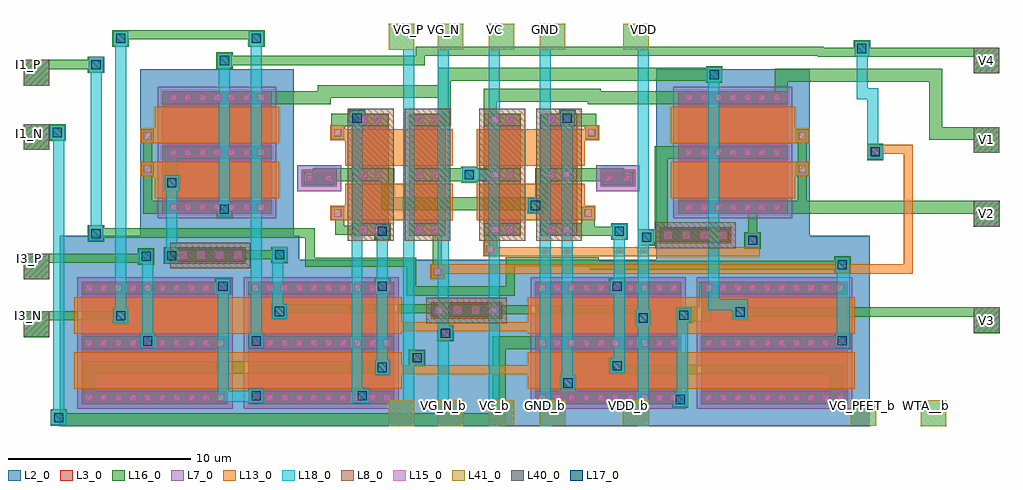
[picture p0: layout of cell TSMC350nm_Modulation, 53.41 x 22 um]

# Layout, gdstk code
from math import pi, radians
import gdstk
lib = gdstk.Library(unit=1e-6, precision=1e-09)
def R(c, l, rs):  # rectangles x0, y0, x1, y1
    for r in rs: c.add(gdstk.rectangle(r[:2], r[2:], *l))
def A(c, l, x, y, w, h, nx, ny, dx, dy):  # array of equal rectangles
    R(c, l, [(x+i*dx, y+j*dy, x+i*dx+w, y+j*dy+h) for i in range(nx) for j in range(ny)])
L2_0 = (2, 0)
L3_0 = (3, 0)
L7_0 = (7, 0)
L8_0 = (8, 0)
L13_0 = (13, 0)
L15_0 = (15, 0)
L16_0 = (16, 0)
L17_0 = (17, 0)
L18_0 = (18, 0)
L40_0 = (40, 0)
L41_0 = (41, 0)

pch_cdns_756393814780 = lib.new_cell('pch_CDNS_756393814780')
R(pch_cdns_756393814780, L2_0, [(-2.05,-1.2,7.05,9.2)])
A(pch_cdns_756393814780, L3_0, -0.85, 0, 0.7, 8, 3, 1, 3, 0)
R(pch_cdns_756393814780, L3_0, [(-0.85,0,-0.15,8), (-0.15,0,2.15,8), (2.85,0,5.15,8), (5.15,0,5.85,8)])
R(pch_cdns_756393814780, L7_0, [(-1.1,-0.25,6.1,8.25)])
R(pch_cdns_756393814780, L13_0, [(0,-0.4,2,8.4), (3,-0.4,5,8.4)])
A(pch_cdns_756393814780, L15_0, -0.7, 0.2, 0.4, 0.4, 3, 10, 3, 0.8)
A(pch_cdns_756393814780, L16_0, -0.85, 0, 0.7, 8, 3, 1, 3, 0)
pch_cdns_756393814780.add(gdstk.Label('D', (2.5,4), layer=59, texttype=0))
pch_cdns_756393814780.add(gdstk.Label('S', (-0.5,4), layer=59, texttype=0))
pch_cdns_756393814780.add(gdstk.Label('S', (5.5,4), layer=59, texttype=0))
pch_cdns_756393814780.add(gdstk.Label('G', (4,4), layer=59, texttype=0))
pch_cdns_756393814780.add(gdstk.Label('G', (1,4), layer=59, texttype=0))
pch_cdns_756393814780.add(gdstk.Label('& SerialNumber 000000', (0,0), layer=16, texttype=0))
pch_cdns_756393814780.add(gdstk.Label('& Distributor VIS', (0,0), layer=16, texttype=0))
pch_cdns_756393814780.add(gdstk.Label('& Metric 1', (0,0), layer=16, texttype=0))
pch_cdns_756393814780.add(gdstk.Label('& Version    \t  1.7A', (0,0), layer=16, texttype=0))
pch_cdns_756393814780.add(gdstk.Label('& PDKName     vis35cv', (0,0), layer=16, texttype=0))
pch_cdns_756393814780.add(gdstk.Label('& Vendor VIS Corp.', (0,0), layer=16, texttype=0))
pch_cdns_756393814780.add(gdstk.Label('& SerialNumber 000000', (0,0), layer=63, texttype=63))
pch_cdns_756393814780.add(gdstk.Label('& Distributor VIS', (0,0), layer=63, texttype=63))
pch_cdns_756393814780.add(gdstk.Label('& Metric 1', (0,0), layer=63, texttype=63))
pch_cdns_756393814780.add(gdstk.Label('& Version    \t  1.7A', (0,0), layer=63, texttype=63))
pch_cdns_756393814780.add(gdstk.Label('& PDKName     vis35cv', (0,0), layer=63, texttype=63))
pch_cdns_756393814780.add(gdstk.Label('& Vendor VIS Corp.', (0,0), layer=63, texttype=63))

pch_cdns_756393814781 = lib.new_cell('pch_CDNS_756393814781')
R(pch_cdns_756393814781, L2_0, [(-2.05,-1.2,7.05,9.2)])
A(pch_cdns_756393814781, L3_0, -0.85, 0, 0.7, 8, 3, 1, 3, 0)
R(pch_cdns_756393814781, L3_0, [(-0.85,0,-0.15,8), (-0.15,0,2.15,8), (2.85,0,5.15,8), (5.15,0,5.85,8)])
R(pch_cdns_756393814781, L7_0, [(-1.1,-0.25,6.1,8.25)])
R(pch_cdns_756393814781, L13_0, [(0,-0.4,2,8.4), (3,-0.4,5,8.4)])
A(pch_cdns_756393814781, L15_0, -0.7, 0.2, 0.4, 0.4, 3, 10, 3, 0.8)
A(pch_cdns_756393814781, L16_0, -0.85, 0, 0.7, 8, 3, 1, 3, 0)
pch_cdns_756393814781.add(gdstk.Label('S', (2.5,4), layer=59, texttype=0))
pch_cdns_756393814781.add(gdstk.Label('D', (-0.5,4), layer=59, texttype=0))
pch_cdns_756393814781.add(gdstk.Label('D', (5.5,4), layer=59, texttype=0))
pch_cdns_756393814781.add(gdstk.Label('G', (4,4), layer=59, texttype=0))
pch_cdns_756393814781.add(gdstk.Label('G', (1,4), layer=59, texttype=0))
pch_cdns_756393814781.add(gdstk.Label('& SerialNumber 000000', (0,0), layer=16, texttype=0))
pch_cdns_756393814781.add(gdstk.Label('& Distributor VIS', (0,0), layer=16, texttype=0))
pch_cdns_756393814781.add(gdstk.Label('& Metric 1', (0,0), layer=16, texttype=0))
pch_cdns_756393814781.add(gdstk.Label('& Version    \t  1.7A', (0,0), layer=16, texttype=0))
pch_cdns_756393814781.add(gdstk.Label('& PDKName     vis35cv', (0,0), layer=16, texttype=0))
pch_cdns_756393814781.add(gdstk.Label('& Vendor VIS Corp.', (0,0), layer=16, texttype=0))
pch_cdns_756393814781.add(gdstk.Label('& SerialNumber 000000', (0,0), layer=63, texttype=63))
pch_cdns_756393814781.add(gdstk.Label('& Distributor VIS', (0,0), layer=63, texttype=63))
pch_cdns_756393814781.add(gdstk.Label('& Metric 1', (0,0), layer=63, texttype=63))
pch_cdns_756393814781.add(gdstk.Label('& Version    \t  1.7A', (0,0), layer=63, texttype=63))
pch_cdns_756393814781.add(gdstk.Label('& PDKName     vis35cv', (0,0), layer=63, texttype=63))
pch_cdns_756393814781.add(gdstk.Label('& Vendor VIS Corp.', (0,0), layer=63, texttype=63))

pch_cdns_756393814782 = lib.new_cell('pch_CDNS_756393814782')
R(pch_cdns_756393814782, L2_0, [(-2.05,-1.2,7.05,7.2)])
A(pch_cdns_756393814782, L3_0, -0.85, 0, 0.7, 6, 3, 1, 3, 0)
R(pch_cdns_756393814782, L3_0, [(-0.85,0,-0.15,6), (-0.15,0,2.15,6), (2.85,0,5.15,6), (5.15,0,5.85,6)])
R(pch_cdns_756393814782, L7_0, [(-1.1,-0.25,6.1,6.25)])
R(pch_cdns_756393814782, L13_0, [(0,-0.4,2,6.4), (3,-0.4,5,6.4)])
A(pch_cdns_756393814782, L15_0, -0.7, 0.4, 0.4, 0.4, 3, 7, 3, 0.8)
A(pch_cdns_756393814782, L16_0, -0.85, 0, 0.7, 6, 3, 1, 3, 0)
pch_cdns_756393814782.add(gdstk.Label('D', (2.5,3), layer=59, texttype=0))
pch_cdns_756393814782.add(gdstk.Label('S', (-0.5,3), layer=59, texttype=0))
pch_cdns_756393814782.add(gdstk.Label('S', (5.5,3), layer=59, texttype=0))
pch_cdns_756393814782.add(gdstk.Label('G', (4,3), layer=59, texttype=0))
pch_cdns_756393814782.add(gdstk.Label('G', (1,3), layer=59, texttype=0))
pch_cdns_756393814782.add(gdstk.Label('& SerialNumber 000000', (0,0), layer=16, texttype=0))
pch_cdns_756393814782.add(gdstk.Label('& Distributor VIS', (0,0), layer=16, texttype=0))
pch_cdns_756393814782.add(gdstk.Label('& Metric 1', (0,0), layer=16, texttype=0))
pch_cdns_756393814782.add(gdstk.Label('& Version    \t  1.7A', (0,0), layer=16, texttype=0))
pch_cdns_756393814782.add(gdstk.Label('& PDKName     vis35cv', (0,0), layer=16, texttype=0))
pch_cdns_756393814782.add(gdstk.Label('& Vendor VIS Corp.', (0,0), layer=16, texttype=0))
pch_cdns_756393814782.add(gdstk.Label('& SerialNumber 000000', (0,0), layer=63, texttype=63))
pch_cdns_756393814782.add(gdstk.Label('& Distributor VIS', (0,0), layer=63, texttype=63))
pch_cdns_756393814782.add(gdstk.Label('& Metric 1', (0,0), layer=63, texttype=63))
pch_cdns_756393814782.add(gdstk.Label('& Version    \t  1.7A', (0,0), layer=63, texttype=63))
pch_cdns_756393814782.add(gdstk.Label('& PDKName     vis35cv', (0,0), layer=63, texttype=63))
pch_cdns_756393814782.add(gdstk.Label('& Vendor VIS Corp.', (0,0), layer=63, texttype=63))

nch_cdns_756393814783 = lib.new_cell('nch_CDNS_756393814783')
A(nch_cdns_756393814783, L3_0, -0.85, 0, 0.7, 2, 3, 1, 3, 0)
R(nch_cdns_756393814783, L3_0, [(-0.85,0,-0.15,2), (-0.15,0,2.15,2), (2.85,0,5.15,2), (5.15,0,5.85,2)])
R(nch_cdns_756393814783, L8_0, [(-1.1,-0.25,6.1,2.25)])
R(nch_cdns_756393814783, L13_0, [(0,-0.4,2,2.4), (3,-0.4,5,2.4)])
A(nch_cdns_756393814783, L15_0, -0.7, 0.4, 0.4, 0.4, 3, 2, 3, 0.8)
A(nch_cdns_756393814783, L16_0, -0.85, 0, 0.7, 2, 3, 1, 3, 0)
nch_cdns_756393814783.add(gdstk.Label('D', (2.5,1), layer=59, texttype=0))
nch_cdns_756393814783.add(gdstk.Label('S', (-0.5,1), layer=59, texttype=0))
nch_cdns_756393814783.add(gdstk.Label('S', (5.5,1), layer=59, texttype=0))
nch_cdns_756393814783.add(gdstk.Label('G', (4,1), layer=59, texttype=0))
nch_cdns_756393814783.add(gdstk.Label('G', (1,1), layer=59, texttype=0))
nch_cdns_756393814783.add(gdstk.Label('& SerialNumber 000000', (0,0), layer=16, texttype=0))
nch_cdns_756393814783.add(gdstk.Label('& Distributor VIS', (0,0), layer=16, texttype=0))
nch_cdns_756393814783.add(gdstk.Label('& Metric 1', (0,0), layer=16, texttype=0))
nch_cdns_756393814783.add(gdstk.Label('& Version    \t  1.7A', (0,0), layer=16, texttype=0))
nch_cdns_756393814783.add(gdstk.Label('& PDKName     vis35cv', (0,0), layer=16, texttype=0))
nch_cdns_756393814783.add(gdstk.Label('& Vendor VIS Corp.', (0,0), layer=16, texttype=0))
nch_cdns_756393814783.add(gdstk.Label('& SerialNumber 000000', (0,0), layer=63, texttype=63))
nch_cdns_756393814783.add(gdstk.Label('& Distributor VIS', (0,0), layer=63, texttype=63))
nch_cdns_756393814783.add(gdstk.Label('& Metric 1', (0,0), layer=63, texttype=63))
nch_cdns_756393814783.add(gdstk.Label('& Version    \t  1.7A', (0,0), layer=63, texttype=63))
nch_cdns_756393814783.add(gdstk.Label('& PDKName     vis35cv', (0,0), layer=63, texttype=63))
nch_cdns_756393814783.add(gdstk.Label('& Vendor VIS Corp.', (0,0), layer=63, texttype=63))

m2_m1_cdns_756393814780 = lib.new_cell('M2_M1_CDNS_756393814780')
R(m2_m1_cdns_756393814780, L16_0, [(-0.45,-0.45,0.45,0.45)])
R(m2_m1_cdns_756393814780, L17_0, [(-0.25,-0.25,0.25,0.25)])
R(m2_m1_cdns_756393814780, L18_0, [(-0.4,-0.4,0.4,0.4)])

m1_poly1_cdns_7563938147 = lib.new_cell('M1_POLY1_CDNS_756393814781')
R(m1_poly1_cdns_7563938147, L13_0, [(-0.4,-0.4,0.4,0.4)])
R(m1_poly1_cdns_7563938147, L15_0, [(-0.2,-0.2,0.2,0.2)])
R(m1_poly1_cdns_7563938147, L16_0, [(-0.35,-0.35,0.35,0.35)])

c_m1_poly1_cdns_7563938147 = lib.new_cell('M1_POLY1_CDNS_756393814782')
R(c_m1_poly1_cdns_7563938147, L13_0, [(-0.4,-0.4,0.4,0.4)])
R(c_m1_poly1_cdns_7563938147, L15_0, [(-0.2,-0.2,0.2,0.2)])
R(c_m1_poly1_cdns_7563938147, L16_0, [(-0.45,-0.45,0.45,0.45)])

m1_nactive_cdns_75639381 = lib.new_cell('M1_NACTIVE_CDNS_756393814783')
R(m1_nactive_cdns_75639381, L3_0, [(-1.95,-0.45,1.95,0.45)])
R(m1_nactive_cdns_75639381, L8_0, [(-2.2,-0.7,2.2,0.7)])
A(m1_nactive_cdns_75639381, L15_0, -1.7, -0.2, 0.4, 0.4, 4, 1, 1, 0)
R(m1_nactive_cdns_75639381, L16_0, [(-1.85,-0.35,1.85,0.35)])

m1_pactive_cdns_75639381 = lib.new_cell('M1_PACTIVE_CDNS_756393814784')
R(m1_pactive_cdns_75639381, L3_0, [(-0.95,-0.45,0.95,0.45)])
R(m1_pactive_cdns_75639381, L7_0, [(-1.2,-0.7,1.2,0.7)])
R(m1_pactive_cdns_75639381, L15_0, [(-0.7,-0.2,-0.3,0.2), (0.3,-0.2,0.7,0.2)])
R(m1_pactive_cdns_75639381, L16_0, [(-0.85,-0.35,0.85,0.35)])

tsmc350nm_modulation = lib.new_cell('TSMC350nm_Modulation')
R(tsmc350nm_modulation, L2_0, [(21.49,0,26.8,9.1), (1.99,9.1,15.09,10.42), (34.62,9.1,46.3,10.42)])
R(tsmc350nm_modulation, L13_0, [(7.09,13.62,7.19,14.42)])
R(tsmc350nm_modulation, L16_0, [(0,4.88,1.4,6.28), (52,5.09,53.4,6.49), (36.59,6.41,36.95,6.52), (0,8.03,1.4,9.43), (25.21,9.99,25.31,10.4), (25.81,9.99,25.91,10.4), (31.05,10.9,31.25,11.1), (52,10.92,53.4,12.32), (31.05,11.1,31.25,11.3), (52,14.95,53.4,16.35), (0,15.11,1.4,16.51), (16.85,16.2,16.95,16.4), (17.45,16.2,17.55,16.4), (30.75,16.2,30.85,16.4), (31.35,16.2,31.45,16.4), (0,18.63,1.4,20.03), (52,19.31,53.4,20.71)])
A(tsmc350nm_modulation, L18_0, 22.66, 20.6, 1.4, 1.4, 3, 1, 2.8, 0)
R(tsmc350nm_modulation, L18_0, [(19.98,0,21.38,1.4), (22.66,0,24.06,1.4), (49.09,0,50.49,1.4), (25.46,0.01,26.86,1.41), (28.27,0.01,29.67,1.41), (32.8,0.01,34.2,1.41), (45.26,0.01,46.66,1.41), (19.98,20.6,21.38,22), (32.82,20.6,34.22,22)])
R(tsmc350nm_modulation, L40_0, [(0,4.87,1.4,6.28), (52,5.08,53.41,6.49), (0,8.03,1.4,9.43), (52,10.91,53.41,12.32), (52,14.95,53.4,16.35), (0,15.11,1.4,16.51), (0,18.63,1.4,20.03), (52,19.31,53.4,20.71)])
A(tsmc350nm_modulation, L41_0, 22.66, 20.6, 1.4, 1.4, 3, 1, 2.8, 0)
R(tsmc350nm_modulation, L41_0, [(19.98,0,21.38,1.4), (22.66,0,24.06,1.4), (49.1,0,50.49,1.4), (25.46,0.01,26.86,1.41), (28.27,0.01,29.67,1.41), (32.8,0.01,34.2,1.41), (45.26,0.01,46.66,1.41), (32.82,20.59,34.22,22), (19.98,20.6,21.38,22)])
tsmc350nm_modulation.add(gdstk.FlexPath([(42.62,15.87),(42.62,14.07)], 0.5, ends="flush", simple_path=True, layer=16, datatype=0))  # L16_0
tsmc350nm_modulation.add(gdstk.FlexPath([(42.62,14.07),(42.62,11.96)], 0.5, ends="flush", simple_path=True, layer=16, datatype=0))  # L16_0
tsmc350nm_modulation.add(gdstk.FlexPath([(44.22,11.97),(52,11.97)], 0.7, ends="flush", simple_path=True, layer=16, datatype=0))  # L16_0
tsmc350nm_modulation.add(gdstk.FlexPath([(52,20.46),(43.46,20.46)], 0.5, ends="flush", simple_path=True, layer=16, datatype=0))  # L16_0
tsmc350nm_modulation.add(gdstk.FlexPath([(49.92,16.01),(52,16.01)], 0.7, ends=(0.35, 0), simple_path=True, layer=16, datatype=0))  # L16_0
tsmc350nm_modulation.add(gdstk.FlexPath([(49.92,19.19),(49.92,16.01)], 0.7, ends="extended", simple_path=True, layer=16, datatype=0))  # L16_0
tsmc350nm_modulation.add(gdstk.FlexPath([(47.01,19.19),(49.92,19.19)], 0.7, ends="extended", simple_path=True, layer=16, datatype=0))  # L16_0
tsmc350nm_modulation.add(gdstk.FlexPath([(47.01,19.2),(47.01,19.19)], 0.7, ends="extended", simple_path=True, layer=16, datatype=0))  # L16_0
tsmc350nm_modulation.add(gdstk.FlexPath([(0,16.01),(2.17,16.01)], 0.5, ends="flush", simple_path=True, layer=16, datatype=0))  # L16_0
tsmc350nm_modulation.add(gdstk.FlexPath([(0,19.78),(4.08,19.78)], 0.5, ends="flush", simple_path=True, layer=16, datatype=0))  # L16_0
tsmc350nm_modulation.add(gdstk.FlexPath([(3.58,3.2),(19.63,3.2)], 0.7, ends=(0.35, 0), simple_path=True, layer=16, datatype=0))  # L16_0
tsmc350nm_modulation.add(gdstk.FlexPath([(25.56,9.64),(25.56,10.4)], 0.5, ends="flush", simple_path=True, layer=16, datatype=0))  # L16_0
tsmc350nm_modulation.add(gdstk.FlexPath([(22.65,8.51),(22.65,10.4)], 0.5, ends="flush", simple_path=True, layer=16, datatype=0))  # L16_0
tsmc350nm_modulation.add(gdstk.FlexPath([(31.24,8.8),(45.26,8.8)], 0.5, ends=(0.25, 0), simple_path=True, layer=16, datatype=0))  # L16_0
tsmc350nm_modulation.add(gdstk.FlexPath([(31.24,8.98),(31.24,8.8)], 0.5, ends="extended", simple_path=True, layer=16, datatype=0))  # L16_0
tsmc350nm_modulation.add(gdstk.FlexPath([(26.64,8.98),(31.24,8.98)], 0.5, ends="extended", simple_path=True, layer=16, datatype=0))  # L16_0
tsmc350nm_modulation.add(gdstk.FlexPath([(26.64,7.39),(26.64,8.98)], 0.5, ends="extended", simple_path=True, layer=16, datatype=0))  # L16_0
tsmc350nm_modulation.add(gdstk.FlexPath([(21.23,7.39),(26.64,7.39)], 0.5, ends="extended", simple_path=True, layer=16, datatype=0))  # L16_0
tsmc350nm_modulation.add(gdstk.FlexPath([(41.47,19.2),(47.01,19.2)], 0.7, ends="extended", simple_path=True, layer=16, datatype=0))  # L16_0
tsmc350nm_modulation.add(gdstk.FlexPath([(8.12,14.97),(8.12,13.26)], 0.7, ends=(0.35, 0), simple_path=True, layer=16, datatype=0))  # L16_0
tsmc350nm_modulation.add(gdstk.FlexPath([(37.65,10.34),(34.9,10.34)], 0.5, ends=(0, 0.35), simple_path=True, layer=16, datatype=0))  # L16_0
tsmc350nm_modulation.add(gdstk.FlexPath([(34.9,14.97),(34.9,10.34)], 0.7, ends=(0.35, 0.25), simple_path=True, layer=16, datatype=0))  # L16_0
tsmc350nm_modulation.add(gdstk.FlexPath([(35.86,14.97),(34.9,14.97)], 0.7, ends=(0, 0.35), simple_path=True, layer=16, datatype=0))  # L16_0
tsmc350nm_modulation.add(gdstk.FlexPath([(43.79,20.51),(21.72,20.51)], 0.5, ends=(0, 0.25), simple_path=True, layer=16, datatype=0))  # L16_0
tsmc350nm_modulation.add(gdstk.FlexPath([(21.72,20.51),(21.72,20)], 0.5, ends="extended", simple_path=True, layer=16, datatype=0))  # L16_0
tsmc350nm_modulation.add(gdstk.FlexPath([(21.72,20),(11,20)], 0.5, ends=(0.25, 0), simple_path=True, layer=16, datatype=0))  # L16_0
tsmc350nm_modulation.add(gdstk.FlexPath([(16.19,13.75),(16.19,13.56)], 0.7, ends=(0.35, 0), simple_path=True, layer=16, datatype=0))  # L16_0
tsmc350nm_modulation.add(gdstk.FlexPath([(18,13.75),(16.19,13.75)], 0.7, ends=(0, 0.35), simple_path=True, layer=16, datatype=0))  # L16_0
tsmc350nm_modulation.add(gdstk.FlexPath([(32.53,13.75),(32.53,13.56)], 0.7, ends=(0.35, 0), simple_path=True, layer=16, datatype=0))  # L16_0
tsmc350nm_modulation.add(gdstk.FlexPath([(30.3,13.75),(32.53,13.75)], 0.7, ends=(0, 0.35), simple_path=True, layer=16, datatype=0))  # L16_0
tsmc350nm_modulation.add(gdstk.FlexPath([(0,9.18),(6.79,9.18)], 0.5, ends="flush", simple_path=True, layer=16, datatype=0))  # L16_0
tsmc350nm_modulation.add(gdstk.FlexPath([(24,6.37),(34.36,6.37)], 0.5, ends=(0.25, 0), simple_path=True, layer=16, datatype=0))  # L16_0
tsmc350nm_modulation.add(gdstk.FlexPath([(26.03,0.35),(1.99,0.35)], 0.7, ends=(0.35, 0), simple_path=True, layer=16, datatype=0))  # L16_0
tsmc350nm_modulation.add(gdstk.FlexPath([(15.68,8.96),(21.23,8.96)], 0.5, ends="extended", simple_path=True, layer=16, datatype=0))  # L16_0
tsmc350nm_modulation.add(gdstk.FlexPath([(15.68,10.56),(15.68,8.96)], 0.5, ends="extended", simple_path=True, layer=16, datatype=0))  # L16_0
tsmc350nm_modulation.add(gdstk.FlexPath([(10.22,9.34),(10.22,9.37)], 0.5, ends=(0, 0.25), simple_path=True, layer=16, datatype=0))  # L16_0
tsmc350nm_modulation.add(gdstk.FlexPath([(3.8,10.56),(15.68,10.56)], 0.5, ends=(0, 0.25), simple_path=True, layer=16, datatype=0))  # L16_0
tsmc350nm_modulation.add(gdstk.FlexPath([(26.03,4.55),(26.03,0.35)], 0.7, ends="extended", simple_path=True, layer=16, datatype=0))  # L16_0
tsmc350nm_modulation.add(gdstk.FlexPath([(24.08,6.41),(14.25,6.41)], 0.5, ends="flush", simple_path=True, layer=16, datatype=0))  # L16_0
tsmc350nm_modulation.add(gdstk.FlexPath([(39.9,10.16),(39.9,12.32)], 0.5, ends="flush", simple_path=True, layer=16, datatype=0))  # L16_0
tsmc350nm_modulation.add(gdstk.FlexPath([(52,6.24),(39.22,6.24)], 0.5, ends="flush", simple_path=True, layer=16, datatype=0))  # L16_0
tsmc350nm_modulation.add(gdstk.FlexPath([(36.38,6.06),(36.38,6.07)], 0.7, ends=(0.35, 0), simple_path=True, layer=16, datatype=0))  # L16_0
tsmc350nm_modulation.add(gdstk.FlexPath([(37.3,7.55),(37.3,6.06)], 0.7, ends="extended", simple_path=True, layer=16, datatype=0))  # L16_0
tsmc350nm_modulation.add(gdstk.FlexPath([(37.3,6.06),(36.38,6.06)], 0.7, ends="extended", simple_path=True, layer=16, datatype=0))  # L16_0
tsmc350nm_modulation.add(gdstk.FlexPath([(23.02,19.25),(37.8,19.25)], 0.7, ends=(0.35, 0), simple_path=True, layer=16, datatype=0))  # L16_0
tsmc350nm_modulation.add(gdstk.FlexPath([(23.02,18.3),(23.02,19.25)], 0.7, ends="extended", simple_path=True, layer=16, datatype=0))  # L16_0
tsmc350nm_modulation.add(gdstk.FlexPath([(17.3,10.72),(18.14,10.72)], 0.5, ends=(0.25, 0), simple_path=True, layer=16, datatype=0))  # L16_0
tsmc350nm_modulation.add(gdstk.FlexPath([(6.79,14.07),(6.79,11.62)], 0.5, ends="flush", simple_path=True, layer=16, datatype=0))  # L16_0
tsmc350nm_modulation.add(gdstk.FlexPath([(6.79,15.87),(6.79,14.07)], 0.5, ends="flush", simple_path=True, layer=16, datatype=0))  # L16_0
tsmc350nm_modulation.add(gdstk.FlexPath([(41.47,18.3),(41.47,19.2)], 0.7, ends=(0, 0.35), simple_path=True, layer=16, datatype=0))  # L16_0
tsmc350nm_modulation.add(gdstk.FlexPath([(16.46,17.97),(16.46,18.3)], 0.7, ends="extended", simple_path=True, layer=16, datatype=0))  # L16_0
tsmc350nm_modulation.add(gdstk.FlexPath([(25.54,18.1),(25.54,16.41)], 0.7, ends=(0.35, 0), simple_path=True, layer=16, datatype=0))  # L16_0
tsmc350nm_modulation.add(gdstk.FlexPath([(19.93,13.75),(19.93,12.17)], 0.7, ends="extended", simple_path=True, layer=16, datatype=0))  # L16_0
tsmc350nm_modulation.add(gdstk.FlexPath([(23.09,13.75),(25.2,13.75)], 0.7, ends="flush", simple_path=True, layer=16, datatype=0))  # L16_0
tsmc350nm_modulation.add(gdstk.FlexPath([(16.46,18.3),(23.02,18.3)], 0.7, ends="extended", simple_path=True, layer=16, datatype=0))  # L16_0
tsmc350nm_modulation.add(gdstk.FlexPath([(23.02,16.75),(23.02,18.3)], 0.7, ends="extended", simple_path=True, layer=16, datatype=0))  # L16_0
tsmc350nm_modulation.add(gdstk.FlexPath([(13.57,17.97),(16.46,17.97)], 0.7, ends=(0, 0.35), simple_path=True, layer=16, datatype=0))  # L16_0
tsmc350nm_modulation.add(gdstk.FlexPath([(35.83,17.97),(31.24,17.97)], 0.7, ends=(0, 0.35), simple_path=True, layer=16, datatype=0))  # L16_0
tsmc350nm_modulation.add(gdstk.FlexPath([(31.24,18.1),(25.54,18.1)], 0.7, ends="extended", simple_path=True, layer=16, datatype=0))  # L16_0
tsmc350nm_modulation.add(gdstk.FlexPath([(28.35,12.17),(28.35,14.1)], 0.7, ends=(0.35, 0), simple_path=True, layer=16, datatype=0))  # L16_0
tsmc350nm_modulation.add(gdstk.FlexPath([(19.93,12.17),(28.35,12.17)], 0.7, ends="extended", simple_path=True, layer=16, datatype=0))  # L16_0
tsmc350nm_modulation.add(gdstk.FlexPath([(31.24,17.97),(31.24,18.1)], 0.7, ends="extended", simple_path=True, layer=16, datatype=0))  # L16_0
tsmc350nm_modulation.add(gdstk.FlexPath([(41.82,11.97),(44.22,11.97)], 0.7, ends="flush", simple_path=True, layer=16, datatype=0))  # L16_0
tsmc350nm_modulation.add(gdstk.FlexPath([(44.5,1.55),(44.5,3.34)], 0.7, ends=(0.35, 0), simple_path=True, layer=16, datatype=0))  # L16_0
tsmc350nm_modulation.add(gdstk.FlexPath([(44.36,3.09),(32.06,3.09)], 0.5, ends="flush", simple_path=True, layer=16, datatype=0))  # L16_0
tsmc350nm_modulation.add(gdstk.FlexPath([(3.58,1.55),(3.58,3.2)], 0.7, ends="extended", simple_path=True, layer=16, datatype=0))  # L16_0
tsmc350nm_modulation.add(gdstk.FlexPath([(7.59,11.97),(6.64,11.97)], 0.7, ends="flush", simple_path=True, layer=16, datatype=0))  # L16_0
tsmc350nm_modulation.add(gdstk.FlexPath([(0,6.03),(5.29,6.03)], 0.5, ends="flush", simple_path=True, layer=16, datatype=0))  # L16_0
tsmc350nm_modulation.add(gdstk.FlexPath([(21.23,8.96),(21.23,7.39)], 0.5, ends="extended", simple_path=True, layer=16, datatype=0))  # L16_0
tsmc350nm_modulation.add(gdstk.FlexPath([(4.99,21.41),(12.74,21.41)], 0.5, ends="flush", simple_path=True, layer=16, datatype=0))  # L16_0
tsmc350nm_modulation.add(gdstk.FlexPath([(28.07,4.55),(26.03,4.55)], 0.7, ends=(0, 0.35), simple_path=True, layer=16, datatype=0))  # L16_0
tsmc350nm_modulation.add(gdstk.FlexPath([(30,10.75),(30.64,10.75)], 0.7, ends="flush", simple_path=True, layer=16, datatype=0))  # L16_0
tsmc350nm_modulation.add(gdstk.FlexPath([(17.2,16.75),(16.85,16.75)], 0.7, ends=(0.25, 0), simple_path=True, layer=16, datatype=0))  # L16_0
tsmc350nm_modulation.add(gdstk.FlexPath([(18,16.75),(17.2,16.75)], 0.7, ends=(0, 0.25), simple_path=True, layer=16, datatype=0))  # L16_0
tsmc350nm_modulation.add(gdstk.FlexPath([(17.2,15.85),(17.2,16.75)], 0.5, ends=(0, 0.35), simple_path=True, layer=16, datatype=0))  # L16_0
tsmc350nm_modulation.add(gdstk.FlexPath([(31.1,15.85),(31.1,16.75)], 0.5, ends=(0, 0.35), simple_path=True, layer=16, datatype=0))  # L16_0
tsmc350nm_modulation.add(gdstk.FlexPath([(30,16.75),(31.15,16.75)], 0.7, ends="flush", simple_path=True, layer=16, datatype=0))  # L16_0
tsmc350nm_modulation.add(gdstk.FlexPath([(30.8,11.65),(30.8,10.65)], 0.5, ends=(0, 0.25), simple_path=True, layer=16, datatype=0))  # L16_0
tsmc350nm_modulation.add(gdstk.FlexPath([(17.2,11.65),(17.3,11.65)], 0.7, ends=(0, 0.25), simple_path=True, layer=16, datatype=0))  # L16_0
tsmc350nm_modulation.add(gdstk.FlexPath([(17.3,11.65),(17.3,10.72)], 0.5, ends=(0.35, 0.25), simple_path=True, layer=16, datatype=0))  # L16_0
tsmc350nm_modulation.add(gdstk.FlexPath([(30.8,10.65),(32.61,10.65)], 0.5, ends=(0.25, 0), simple_path=True, layer=16, datatype=0))  # L16_0
tsmc350nm_modulation.add(gdstk.FlexPath([(34.9,10.34),(33.8,10.34)], 0.5, ends=(0.35, 0), simple_path=True, layer=16, datatype=0))  # L16_0
tsmc350nm_modulation.add(gdstk.FlexPath([(10.22,9.37),(14.02,9.37)], 0.5, ends=(0.25, 0), simple_path=True, layer=16, datatype=0))  # L16_0
tsmc350nm_modulation.add(gdstk.FlexPath([(46.21,15.14),(48.42,15.14)], 0.5, ends=(0, 0.25), simple_path=True, layer=13, datatype=0))  # L13_0
tsmc350nm_modulation.add(gdstk.FlexPath([(48.42,15.14),(48.42,8.59)], 0.5, ends="extended", simple_path=True, layer=13, datatype=0))  # L13_0
tsmc350nm_modulation.add(gdstk.FlexPath([(40.3,9.54),(25.38,9.54)], 0.5, ends="flush", simple_path=True, layer=13, datatype=0))  # L13_0
tsmc350nm_modulation.add(gdstk.FlexPath([(48.42,8.59),(22.59,8.59)], 0.5, ends=(0.25, 0), simple_path=True, layer=13, datatype=0))  # L13_0
tsmc350nm_modulation.add(gdstk.FlexPath([(36.7,3.05),(36.4,3.05)], 2, ends="flush", simple_path=True, layer=13, datatype=0))  # L13_0
tsmc350nm_modulation.add(gdstk.FlexPath([(36.4,6.05),(36.7,6.05)], 2, ends="flush", simple_path=True, layer=13, datatype=0))  # L13_0
tsmc350nm_modulation.add(gdstk.FlexPath([(11.59,3.05),(11.89,3.05)], 2, ends="flush", simple_path=True, layer=13, datatype=0))  # L13_0
tsmc350nm_modulation.add(gdstk.FlexPath([(11.89,6.05),(11.59,6.05)], 2, ends="flush", simple_path=True, layer=13, datatype=0))  # L13_0
tsmc350nm_modulation.add(gdstk.FlexPath([(27.9,12.25),(27.6,12.25)], 2, ends="flush", simple_path=True, layer=13, datatype=0))  # L13_0
tsmc350nm_modulation.add(gdstk.FlexPath([(27.9,15.25),(27.6,15.25)], 2, ends="flush", simple_path=True, layer=13, datatype=0))  # L13_0
tsmc350nm_modulation.add(gdstk.FlexPath([(20.4,12.25),(20.7,12.25)], 2, ends="flush", simple_path=True, layer=13, datatype=0))  # L13_0
tsmc350nm_modulation.add(gdstk.FlexPath([(20.69,3.08),(22.39,3.08)], 0.5, ends="flush", simple_path=True, layer=13, datatype=0))  # L13_0
tsmc350nm_modulation.add(gdstk.FlexPath([(27.6,3.08),(22.39,3.08)], 0.5, ends="flush", simple_path=True, layer=13, datatype=0))  # L13_0
tsmc350nm_modulation.add(gdstk.FlexPath([(27.6,5.43),(20.69,5.43)], 0.5, ends="flush", simple_path=True, layer=13, datatype=0))  # L13_0
tsmc350nm_modulation.add(gdstk.FlexPath([(20.4,15.25),(20.7,15.25)], 2, ends="flush", simple_path=True, layer=13, datatype=0))  # L13_0
tsmc350nm_modulation.add(gdstk.FlexPath([(25.76,22),(25.76,13.75)], 0.6, ends=(0, 0.3), simple_path=True, layer=18, datatype=0))  # L18_0
tsmc350nm_modulation.add(gdstk.FlexPath([(1.93,0.46),(1.93,16.41)], 0.6, ends="flush", simple_path=True, layer=18, datatype=0))  # L18_0
tsmc350nm_modulation.add(gdstk.FlexPath([(3.97,10.53),(3.97,19.88)], 0.6, ends="flush", simple_path=True, layer=18, datatype=0))  # L18_0
tsmc350nm_modulation.add(gdstk.FlexPath([(45.9,18.18),(46.48,18.18)], 0.6, ends="extended", simple_path=True, layer=18, datatype=0))  # L18_0
tsmc350nm_modulation.add(gdstk.FlexPath([(46.48,18.18),(46.48,14.6)], 0.6, ends=(0.3, 0), simple_path=True, layer=18, datatype=0))  # L18_0
tsmc350nm_modulation.add(gdstk.FlexPath([(8.12,13.31),(8.12,9.32)], 0.6, ends="flush", simple_path=True, layer=18, datatype=0))  # L18_0
tsmc350nm_modulation.add(gdstk.FlexPath([(37.77,6.64),(37.77,6.36)], 0.6, ends=(0.3, 0), simple_path=True, layer=18, datatype=0))  # L18_0
tsmc350nm_modulation.add(gdstk.FlexPath([(37.77,6.64),(39.62,6.64)], 0.6, ends=(0.3, 0), simple_path=True, layer=18, datatype=0))  # L18_0
tsmc350nm_modulation.add(gdstk.FlexPath([(45.9,20.67),(45.9,18.18)], 0.6, ends=(0, 0.3), simple_path=True, layer=18, datatype=0))  # L18_0
tsmc350nm_modulation.add(gdstk.FlexPath([(10.99,11.87),(10.99,20.12)], 0.6, ends="flush", simple_path=True, layer=18, datatype=0))  # L18_0
tsmc350nm_modulation.add(gdstk.FlexPath([(6.81,4.25),(6.81,9.43)], 0.6, ends="flush", simple_path=True, layer=18, datatype=0))  # L18_0
tsmc350nm_modulation.add(gdstk.FlexPath([(44.86,4.95),(44.86,8.97)], 0.7, ends=(0.35, 0), simple_path=True, layer=18, datatype=0))  # L18_0
tsmc350nm_modulation.add(gdstk.FlexPath([(33.91,17.97),(33.91,0)], 0.6, ends="flush", simple_path=True, layer=18, datatype=0))  # L18_0
tsmc350nm_modulation.add(gdstk.FlexPath([(33.91,17.97),(33.91,22)], 0.6, ends="flush", simple_path=True, layer=18, datatype=0))  # L18_0
tsmc350nm_modulation.add(gdstk.FlexPath([(10.92,1.64),(12.74,1.64)], 0.6, ends="extended", simple_path=True, layer=18, datatype=0))  # L18_0
tsmc350nm_modulation.add(gdstk.FlexPath([(37.77,19.44),(37.77,6.64)], 0.6, ends=(0, 0.3), simple_path=True, layer=18, datatype=0))  # L18_0
tsmc350nm_modulation.add(gdstk.FlexPath([(36.04,6.07),(36.04,1.05)], 0.6, ends="flush", simple_path=True, layer=18, datatype=0))  # L18_0
tsmc350nm_modulation.add(gdstk.FlexPath([(28.56,0),(28.56,22)], 0.6, ends="flush", simple_path=True, layer=18, datatype=0))  # L18_0
tsmc350nm_modulation.add(gdstk.FlexPath([(22.96,0),(22.96,22)], 0.6, ends="flush", simple_path=True, layer=18, datatype=0))  # L18_0
tsmc350nm_modulation.add(gdstk.FlexPath([(21.08,3.08),(21.08,0)], 0.6, ends="flush", simple_path=True, layer=18, datatype=0))  # L18_0
tsmc350nm_modulation.add(gdstk.FlexPath([(21.08,3.08),(21.08,22)], 0.6, ends="flush", simple_path=True, layer=18, datatype=0))  # L18_0
tsmc350nm_modulation.add(gdstk.FlexPath([(25.76,13.75),(25.76,8.56)], 0.6, ends="extended", simple_path=True, layer=18, datatype=0))  # L18_0
tsmc350nm_modulation.add(gdstk.FlexPath([(25.76,8.56),(25.77,8.56)], 0.6, ends="extended", simple_path=True, layer=18, datatype=0))  # L18_0
tsmc350nm_modulation.add(gdstk.FlexPath([(13.92,9.37),(13.92,6.25)], 0.6, ends="flush", simple_path=True, layer=18, datatype=0))  # L18_0
tsmc350nm_modulation.add(gdstk.FlexPath([(5.32,21.21),(5.32,5.85)], 0.6, ends="flush", simple_path=True, layer=18, datatype=0))  # L18_0
tsmc350nm_modulation.add(gdstk.FlexPath([(18.25,16.85),(18.25,1.25)], 0.6, ends="flush", simple_path=True, layer=18, datatype=0))  # L18_0
tsmc350nm_modulation.add(gdstk.FlexPath([(29.75,16.85),(29.75,2.21)], 0.6, ends="flush", simple_path=True, layer=18, datatype=0))  # L18_0
tsmc350nm_modulation.add(gdstk.FlexPath([(19.64,3.2),(19.64,10.65)], 0.6, ends="flush", simple_path=True, layer=18, datatype=0))  # L18_0
tsmc350nm_modulation.add(gdstk.FlexPath([(10.92,7.65),(10.92,1.64)], 0.6, ends=(0, 0.3), simple_path=True, layer=18, datatype=0))  # L18_0
tsmc350nm_modulation.add(gdstk.FlexPath([(12.74,1.64),(12.74,1.65)], 0.6, ends=(0.3, 0), simple_path=True, layer=18, datatype=0))  # L18_0
tsmc350nm_modulation.add(gdstk.FlexPath([(25.77,8.56),(25.77,0)], 0.6, ends=(0.3, 0), simple_path=True, layer=18, datatype=0))  # L18_0
tsmc350nm_modulation.add(gdstk.FlexPath([(12.74,4.65),(12.74,21.5)], 0.6, ends="flush", simple_path=True, layer=18, datatype=0))  # L18_0
tsmc350nm_modulation.add(gdstk.FlexPath([(32.59,10.77),(32.59,2.98)], 0.6, ends="flush", simple_path=True, layer=18, datatype=0))  # L18_0
tsmc350nm_modulation.add(gdstk.FlexPath([(24.4,13.75),(25.76,13.75)], 0.6, ends=(0, 0.3), simple_path=True, layer=18, datatype=0))  # L18_0
tsmc350nm_modulation.add(gdstk.Reference(pch_cdns_756393814780, (3.19,2.05), rotation=pi/2, x_reflection=True))
tsmc350nm_modulation.add(gdstk.Reference(pch_cdns_756393814780, (36,2.05), rotation=pi/2))
tsmc350nm_modulation.add(gdstk.Reference(pch_cdns_756393814780, (45.1,2.05), rotation=pi/2))
tsmc350nm_modulation.add(gdstk.Reference(pch_cdns_756393814781, (12.29,2.05), rotation=pi/2, x_reflection=True))
tsmc350nm_modulation.add(gdstk.Reference(pch_cdns_756393814782, (7.59,12.47), rotation=pi/2, x_reflection=True))
tsmc350nm_modulation.add(gdstk.Reference(pch_cdns_756393814782, (41.82,12.47), rotation=pi/2))
tsmc350nm_modulation.add(gdstk.Reference(nch_cdns_756393814783, (27.2,11.25), rotation=pi/2))
tsmc350nm_modulation.add(gdstk.Reference(nch_cdns_756393814783, (30.3,11.25), rotation=pi/2))
tsmc350nm_modulation.add(gdstk.Reference(nch_cdns_756393814783, (21.1,11.25), rotation=pi/2, x_reflection=True))
tsmc350nm_modulation.add(gdstk.Reference(nch_cdns_756393814783, (18,11.25), rotation=pi/2, x_reflection=True))
tsmc350nm_modulation.add(gdstk.Reference(m2_m1_cdns_756393814780, (1.85,16.06)))
tsmc350nm_modulation.add(gdstk.Reference(m2_m1_cdns_756393814780, (1.93,0.46)))
tsmc350nm_modulation.add(gdstk.Reference(m2_m1_cdns_756393814780, (3.97,19.77)))
tsmc350nm_modulation.add(gdstk.Reference(m2_m1_cdns_756393814780, (3.97,10.53)))
tsmc350nm_modulation.add(gdstk.Reference(m2_m1_cdns_756393814780, (5.32,6.03)))
tsmc350nm_modulation.add(gdstk.Reference(m2_m1_cdns_756393814780, (5.32,21.21)))
tsmc350nm_modulation.add(gdstk.Reference(m2_m1_cdns_756393814780, (39.9,10.16)))
tsmc350nm_modulation.add(gdstk.Reference(m2_m1_cdns_756393814780, (46.61,15)))
tsmc350nm_modulation.add(gdstk.Reference(m2_m1_cdns_756393814780, (45.88,20.66)))
tsmc350nm_modulation.add(gdstk.Reference(m2_m1_cdns_756393814780, (14.02,9.37)))
tsmc350nm_modulation.add(gdstk.Reference(m2_m1_cdns_756393814780, (37.8,19.23)))
tsmc350nm_modulation.add(gdstk.Reference(m2_m1_cdns_756393814780, (28.02,12.07)))
tsmc350nm_modulation.add(gdstk.Reference(m2_m1_cdns_756393814780, (8.12,9.32)))
tsmc350nm_modulation.add(gdstk.Reference(m2_m1_cdns_756393814780, (21.54,3.73)))
tsmc350nm_modulation.add(gdstk.Reference(m2_m1_cdns_756393814780, (24.4,13.75)))
tsmc350nm_modulation.add(gdstk.Reference(m2_m1_cdns_756393814780, (44.81,4.66)))
tsmc350nm_modulation.add(gdstk.Reference(m2_m1_cdns_756393814780, (23.09,5.08)))
tsmc350nm_modulation.add(gdstk.Reference(m2_m1_cdns_756393814780, (39.22,6.24)))
tsmc350nm_modulation.add(gdstk.Reference(m2_m1_cdns_756393814780, (10.99,11.87)))
tsmc350nm_modulation.add(gdstk.Reference(m2_m1_cdns_756393814780, (14.01,6.27)))
tsmc350nm_modulation.add(gdstk.Reference(m2_m1_cdns_756393814780, (8.12,13.31)))
tsmc350nm_modulation.add(gdstk.Reference(m2_m1_cdns_756393814780, (32.49,3.3)))
tsmc350nm_modulation.add(gdstk.Reference(m2_m1_cdns_756393814780, (10.92,7.65)))
tsmc350nm_modulation.add(gdstk.Reference(m2_m1_cdns_756393814780, (33.91,5.91)))
tsmc350nm_modulation.add(gdstk.Reference(m2_m1_cdns_756393814780, (44.81,8.83)))
tsmc350nm_modulation.add(gdstk.Reference(m2_m1_cdns_756393814780, (18.54,1.65)))
tsmc350nm_modulation.add(gdstk.Reference(m2_m1_cdns_756393814780, (18.25,16.85)))
tsmc350nm_modulation.add(gdstk.Reference(m2_m1_cdns_756393814780, (29.8,2.35)))
tsmc350nm_modulation.add(gdstk.Reference(m2_m1_cdns_756393814780, (29.76,16.85)))
tsmc350nm_modulation.add(gdstk.Reference(m2_m1_cdns_756393814780, (19.64,7.65), rotation=pi/2, x_reflection=True))
tsmc350nm_modulation.add(gdstk.Reference(m2_m1_cdns_756393814780, (12.74,21.21)))
tsmc350nm_modulation.add(gdstk.Reference(m2_m1_cdns_756393814780, (19.64,10.65), rotation=pi/2, x_reflection=True))
tsmc350nm_modulation.add(gdstk.Reference(m2_m1_cdns_756393814780, (19.64,3.2), rotation=pi/2, x_reflection=True))
tsmc350nm_modulation.add(gdstk.Reference(m2_m1_cdns_756393814780, (12.74,4.65)))
tsmc350nm_modulation.add(gdstk.Reference(m2_m1_cdns_756393814780, (12.74,1.65)))
tsmc350nm_modulation.add(gdstk.Reference(m2_m1_cdns_756393814780, (11,20)))
tsmc350nm_modulation.add(gdstk.Reference(m2_m1_cdns_756393814780, (6.71,9.28)))
tsmc350nm_modulation.add(gdstk.Reference(m2_m1_cdns_756393814780, (6.8,4.65)))
tsmc350nm_modulation.add(gdstk.Reference(m2_m1_cdns_756393814780, (32.49,7.65), rotation=pi/2))
tsmc350nm_modulation.add(gdstk.Reference(m2_m1_cdns_756393814780, (32.61,10.65)))
tsmc350nm_modulation.add(gdstk.Reference(m2_m1_cdns_756393814780, (34.1,10.32)))
tsmc350nm_modulation.add(gdstk.Reference(m2_m1_cdns_756393814780, (36.14,6.07), rotation=pi/2))
tsmc350nm_modulation.add(gdstk.Reference(m2_m1_cdns_756393814780, (35.94,1.45)))
tsmc350nm_modulation.add(gdstk.Reference(m1_poly1_cdns_7563938147, (25.56,9.69)))
tsmc350nm_modulation.add(gdstk.Reference(m1_poly1_cdns_7563938147, (6.79,14.07)))
tsmc350nm_modulation.add(gdstk.Reference(m1_poly1_cdns_7563938147, (6.79,15.87)))
tsmc350nm_modulation.add(gdstk.Reference(m1_poly1_cdns_7563938147, (42.62,15.87)))
tsmc350nm_modulation.add(gdstk.Reference(m1_poly1_cdns_7563938147, (6.79,15.87)))
tsmc350nm_modulation.add(gdstk.Reference(m1_poly1_cdns_7563938147, (42.62,15.87)))
tsmc350nm_modulation.add(gdstk.Reference(m1_poly1_cdns_7563938147, (6.79,14.07)))
tsmc350nm_modulation.add(gdstk.Reference(m1_poly1_cdns_7563938147, (21.54,3.73)))
tsmc350nm_modulation.add(gdstk.Reference(m1_poly1_cdns_7563938147, (42.62,14.07)))
tsmc350nm_modulation.add(gdstk.Reference(m1_poly1_cdns_7563938147, (23.09,5.08)))
tsmc350nm_modulation.add(gdstk.Reference(m1_poly1_cdns_7563938147, (42.62,14.07)))
tsmc350nm_modulation.add(gdstk.Reference(m1_poly1_cdns_7563938147, (22.65,8.44)))
tsmc350nm_modulation.add(gdstk.Reference(m1_poly1_cdns_7563938147, (17.2,11.65), rotation=pi/2, x_reflection=True))
tsmc350nm_modulation.add(gdstk.Reference(m1_poly1_cdns_7563938147, (30.9,11.65)))
tsmc350nm_modulation.add(gdstk.Reference(m1_poly1_cdns_7563938147, (31.1,16.05), rotation=pi/2))
tsmc350nm_modulation.add(gdstk.Reference(m1_poly1_cdns_7563938147, (17.2,16.05), rotation=pi/2, x_reflection=True))
tsmc350nm_modulation.add(gdstk.Reference(c_m1_poly1_cdns_7563938147, (39.9,10.16)))
tsmc350nm_modulation.add(gdstk.Reference(c_m1_poly1_cdns_7563938147, (46.61,15)))
tsmc350nm_modulation.add(gdstk.Reference(m1_nactive_cdns_75639381, (24.25,6.33)))
tsmc350nm_modulation.add(gdstk.Reference(m1_nactive_cdns_75639381, (10.22,9.34)))
tsmc350nm_modulation.add(gdstk.Reference(m1_nactive_cdns_75639381, (36.77,10.44)))
tsmc350nm_modulation.add(gdstk.Reference(m1_pactive_cdns_75639381, (16.19,13.56)))
tsmc350nm_modulation.add(gdstk.Reference(m1_pactive_cdns_75639381, (32.53,13.56)))
tsmc350nm_modulation.add(gdstk.Label('WTA__b', (49.4,1.11), layer=41, texttype=0))
tsmc350nm_modulation.add(gdstk.Label('VG_PFET_b', (45.94,1.12), layer=41, texttype=0))
tsmc350nm_modulation.add(gdstk.Label('VDD_b', (33.1,1.12), layer=41, texttype=0))
tsmc350nm_modulation.add(gdstk.Label('GND_b', (28.57,1.12), layer=41, texttype=0))
tsmc350nm_modulation.add(gdstk.Label('VC_b', (25.76,1.12), layer=41, texttype=0))
tsmc350nm_modulation.add(gdstk.Label('VG_N_b', (22.99,1.1), layer=41, texttype=0))
tsmc350nm_modulation.add(gdstk.Label('VG_P_b', (21.08,1.09), layer=41, texttype=0))
tsmc350nm_modulation.add(gdstk.Label('VDD', (33.92,21.68), layer=41, texttype=0))
tsmc350nm_modulation.add(gdstk.Label('GND', (28.56,21.71), layer=41, texttype=0))
tsmc350nm_modulation.add(gdstk.Label('VC', (25.76,21.71), layer=41, texttype=0))
tsmc350nm_modulation.add(gdstk.Label('VG_N', (22.99,21.7), layer=41, texttype=0))
tsmc350nm_modulation.add(gdstk.Label('VG_P', (21.08,21.69), layer=41, texttype=0))
tsmc350nm_modulation.add(gdstk.Label('V2', (52.7,11.63), layer=40, texttype=0))
tsmc350nm_modulation.add(gdstk.Label('I1_N', (0.34,16), layer=40, texttype=0))
tsmc350nm_modulation.add(gdstk.Label('V4', (52.7,20.02), layer=40, texttype=0))
tsmc350nm_modulation.add(gdstk.Label('V1', (52.69,15.66), layer=40, texttype=0))
tsmc350nm_modulation.add(gdstk.Label('I3_N', (0.28,6.04), layer=40, texttype=0))
tsmc350nm_modulation.add(gdstk.Label('I3_P', (0.31,9.19), layer=40, texttype=0))
tsmc350nm_modulation.add(gdstk.Label('V3', (52.68,5.79), layer=40, texttype=0))
tsmc350nm_modulation.add(gdstk.Label('I1_P', (0.26,19.78), layer=40, texttype=0))

lib.write_gds('TSMC350nm_Modulation.gds')
